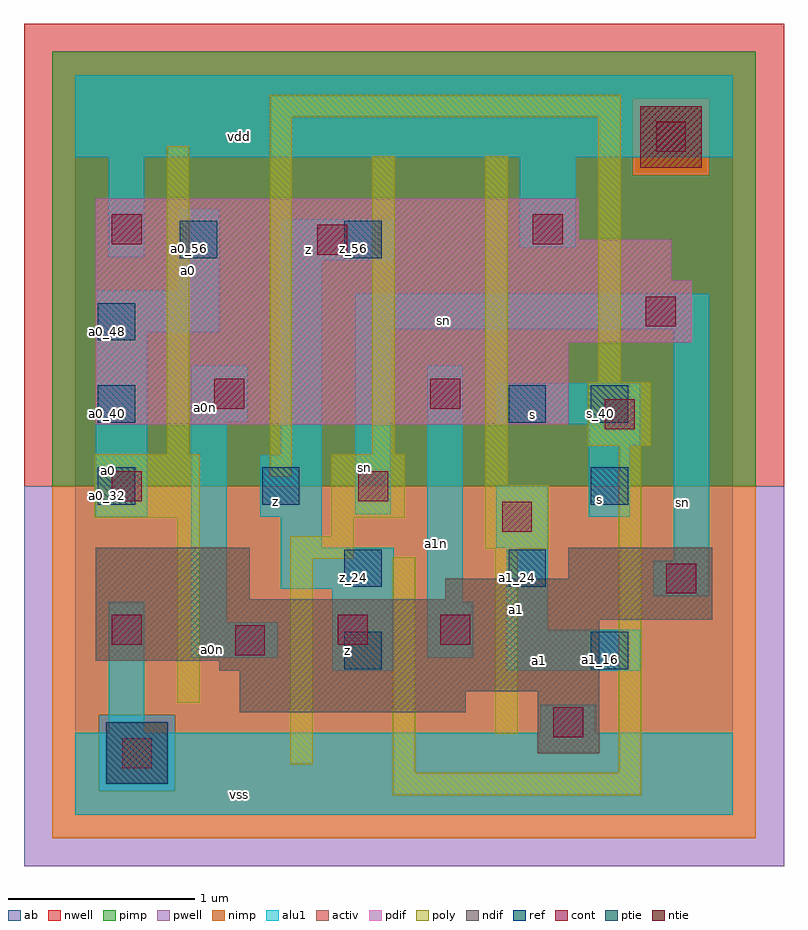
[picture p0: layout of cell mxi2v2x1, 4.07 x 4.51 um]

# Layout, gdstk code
import gdstk
lib = gdstk.Library(unit=1e-6, precision=2.5e-09)
def R(c, l, rs):  # rectangles x0, y0, x1, y1
    for r in rs: c.add(gdstk.rectangle(r[:2], r[2:], *l))
def A(c, l, x, y, w, h, nx, ny, dx, dy):  # array of equal rectangles
    R(c, l, [(x+i*dx, y+j*dy, x+i*dx+w, y+j*dy+h) for i in range(nx) for j in range(ny)])
ndif = (3, 0)
pdif = (4, 0)
ntie = (5, 0)
ptie = (6, 0)
ref = (24, 0)
cont = (25, 0)
pwell = (41, 0)
nwell = (42, 0)
activ = (43, 0)
pimp = (44, 0)
nimp = (45, 0)
poly = (46, 0)
alu1 = (49, 0)
ab = (63, 0)

mxi2v2x1 = lib.new_cell('mxi2v2x1')
R(mxi2v2x1, ndif, [(2.475,0.33,2.805,0.66), (0.88,0.55,2.09,0.66), (0.88,0.66,2.805,0.77), (0.77,0.77,2.805,0.825), (0.11,0.825,2.805,1.045), (0.11,1.045,3.41,1.155), (0.11,1.155,0.935,1.43), (1.98,1.155,3.41,1.265), (2.64,1.265,3.41,1.43)])
R(mxi2v2x1, pdif, [(0.11,2.09,2.64,2.53), (0.11,2.53,3.3,2.86), (0.11,2.86,3.19,3.08), (0.11,3.08,2.695,3.3)])
R(mxi2v2x1, ntie, [(3.025,3.465,3.355,3.795)])
R(mxi2v2x1, ptie, [(0.165,0.165,0.495,0.495)])
A(mxi2v2x1, ref, 0.12, 1.66, 0.2, 0.2, 1, 3, 0, 0.44)
R(mxi2v2x1, ref, [(1.44,0.78,1.64,0.98), (2.76,0.78,2.96,0.98), (1.44,1.22,1.64,1.42), (2.32,1.22,2.52,1.42), (1,1.66,1.2,1.86), (2.76,1.66,2.96,1.86), (2.32,2.1,2.52,2.3), (2.76,2.1,2.96,2.3), (0.56,2.98,0.76,3.18), (1.44,2.98,1.64,3.18)])
R(mxi2v2x1, cont, [(0.25,0.25,0.41,0.41), (2.56,0.415,2.72,0.575), (0.855,0.855,1.015,1.015), (0.195,0.91,0.355,1.07), (1.405,0.91,1.565,1.07), (1.955,0.91,2.115,1.07), (3.165,1.185,3.325,1.345), (2.285,1.515,2.445,1.675), (0.195,1.68,0.355,1.84), (1.515,1.68,1.675,1.84), (2.835,2.065,2.995,2.225), (0.745,2.175,0.905,2.335), (1.9,2.175,2.06,2.335), (3.055,2.615,3.215,2.775), (1.295,3,1.455,3.16), (0.195,3.055,0.355,3.215), (2.45,3.055,2.61,3.215), (3.11,3.55,3.27,3.71)])
R(mxi2v2x1, pwell, [(-0.275,-0.275,3.795,1.76)])
R(mxi2v2x1, nwell, [(-0.275,1.76,3.795,4.235)])
R(mxi2v2x1, activ, [(0.165,0.165,0.495,0.495), (2.475,0.33,2.805,0.66), (0.88,0.55,2.09,0.66), (0.88,0.66,2.805,0.77), (0.77,0.77,2.805,0.825), (0.11,0.825,2.805,1.045), (0.11,1.045,3.41,1.155), (0.11,1.155,0.935,1.43), (1.98,1.155,3.41,1.265), (2.64,1.265,3.41,1.43), (0.11,2.09,2.64,2.53), (0.11,2.53,3.3,2.86), (0.11,2.86,3.19,3.08), (0.11,3.08,2.695,3.3), (3.025,3.465,3.355,3.795)])
R(mxi2v2x1, pimp, [(0.125,0.125,0.535,0.535), (-0.125,1.76,3.645,3.425), (-0.125,3.425,2.985,3.835), (3.395,3.425,3.645,3.835), (-0.125,3.835,3.645,4.085)])
R(mxi2v2x1, nimp, [(-0.125,-0.125,3.645,0.125), (-0.125,0.125,0.125,0.535), (0.535,0.125,3.645,0.535), (-0.125,0.535,3.645,1.76), (2.985,3.425,3.395,3.835)])
R(mxi2v2x1, poly, [(1.7,0.105,3.03,0.225), (1.7,0.225,1.82,1.38), (2.91,0.225,3.03,1.975), (1.15,0.27,1.27,1.37), (2.25,0.435,2.37,1.425), (0.545,0.6,0.665,1.59), (1.15,1.37,1.49,1.49), (2.195,1.425,2.535,1.765), (1.37,1.49,1.49,1.59), (0.105,1.59,0.665,1.93), (1.37,1.59,1.765,1.93), (2.195,1.765,2.315,3.525), (1.04,1.81,1.16,3.735), (0.49,1.93,0.61,3.58), (1.59,1.93,1.71,3.525), (2.745,1.975,3.085,2.315), (2.8,2.315,2.92,3.735), (1.04,3.735,2.92,3.855)])
R(mxi2v2x1, alu1, [(0,0,3.52,0.44), (0.18,0.44,0.37,1.14), (2.49,0.44,2.79,0.59), (1.375,0.77,1.705,1.21), (2.31,0.77,3.025,0.99), (0.62,0.84,1.085,1.03), (1.885,0.84,2.13,1.14), (2.31,0.99,2.53,1.43), (0.62,1.03,0.81,2.105), (1.885,1.14,2.075,2.405), (3.095,1.17,3.395,1.36), (1.1,1.21,1.705,1.43), (3.205,1.36,3.395,2.6), (1.1,1.43,1.32,1.595), (2.255,1.43,2.53,1.76), (0.11,1.595,0.385,2.585), (0.99,1.595,1.32,1.925), (2.75,1.595,2.97,1.98), (1.5,1.61,1.69,2.6), (1.1,1.925,1.32,2.97), (2.75,1.98,3.025,2.09), (2.255,2.09,3.025,2.31), (0.62,2.105,0.92,2.405), (0.11,2.585,0.77,2.805), (1.5,2.6,3.395,2.79), (0.55,2.805,0.77,3.245), (1.1,2.97,1.705,3.19), (0.18,2.985,0.37,3.52), (2.38,3.04,2.68,3.52), (0,3.52,3.52,3.96)])
R(mxi2v2x1, ab, [(0,0,3.52,3.96)])
mxi2v2x1.add(gdstk.Label('vss', (0.88,0.11), layer=49, texttype=0))
mxi2v2x1.add(gdstk.Label('a1', (2.4875,0.825), layer=49, texttype=0))
mxi2v2x1.add(gdstk.Label('sn', (3.2525,1.67), layer=49, texttype=0))
mxi2v2x1.add(gdstk.Label('a1', (2.365,1.1), layer=49, texttype=0))
mxi2v2x1.add(gdstk.Label('s', (2.805,1.69), layer=49, texttype=0))
mxi2v2x1.add(gdstk.Label('s', (2.4475,2.145), layer=49, texttype=0))
mxi2v2x1.add(gdstk.Label('a1n', (1.9325,1.455), layer=49, texttype=0))
mxi2v2x1.add(gdstk.Label('z', (1.4575,0.88), layer=49, texttype=0))
mxi2v2x1.add(gdstk.Label('a0n', (0.735,0.8875), layer=49, texttype=0))
mxi2v2x1.add(gdstk.Label('sn', (1.5475,1.8575), layer=49, texttype=0))
mxi2v2x1.add(gdstk.Label('sn', (1.9725,2.6475), layer=49, texttype=0))
mxi2v2x1.add(gdstk.Label('z', (1.0725,1.6775), layer=49, texttype=0))
mxi2v2x1.add(gdstk.Label('a0n', (0.695,2.18), layer=49, texttype=0))
mxi2v2x1.add(gdstk.Label('a0', (0.1775,1.8425), layer=49, texttype=0))
mxi2v2x1.add(gdstk.Label('z', (1.25,3.025), layer=49, texttype=0))
mxi2v2x1.add(gdstk.Label('a0', (0.605,2.915), layer=49, texttype=0))
mxi2v2x1.add(gdstk.Label('vdd', (0.88,3.63), layer=49, texttype=0))
mxi2v2x1.add(gdstk.Label('s_40', (2.81,2.15), layer=24, texttype=0))
mxi2v2x1.add(gdstk.Label('z_32', (1.05,1.71), layer=24, texttype=0))
mxi2v2x1.add(gdstk.Label('z_56', (1.49,3.03), layer=24, texttype=0))
mxi2v2x1.add(gdstk.Label('s_32', (2.81,1.71), layer=24, texttype=0))
mxi2v2x1.add(gdstk.Label('s_40', (2.37,2.15), layer=24, texttype=0))
mxi2v2x1.add(gdstk.Label('a0_56', (0.61,3.03), layer=24, texttype=0))
mxi2v2x1.add(gdstk.Label('a0_48', (0.17,2.59), layer=24, texttype=0))
mxi2v2x1.add(gdstk.Label('a0_40', (0.17,2.15), layer=24, texttype=0))
mxi2v2x1.add(gdstk.Label('a1_16', (2.81,0.83), layer=24, texttype=0))
mxi2v2x1.add(gdstk.Label('a1_24', (2.37,1.27), layer=24, texttype=0))
mxi2v2x1.add(gdstk.Label('a0_32', (0.17,1.71), layer=24, texttype=0))
mxi2v2x1.add(gdstk.Label('z_16', (1.49,0.83), layer=24, texttype=0))
mxi2v2x1.add(gdstk.Label('z_24', (1.49,1.27), layer=24, texttype=0))

lib.write_gds('mxi2v2x1.gds')
